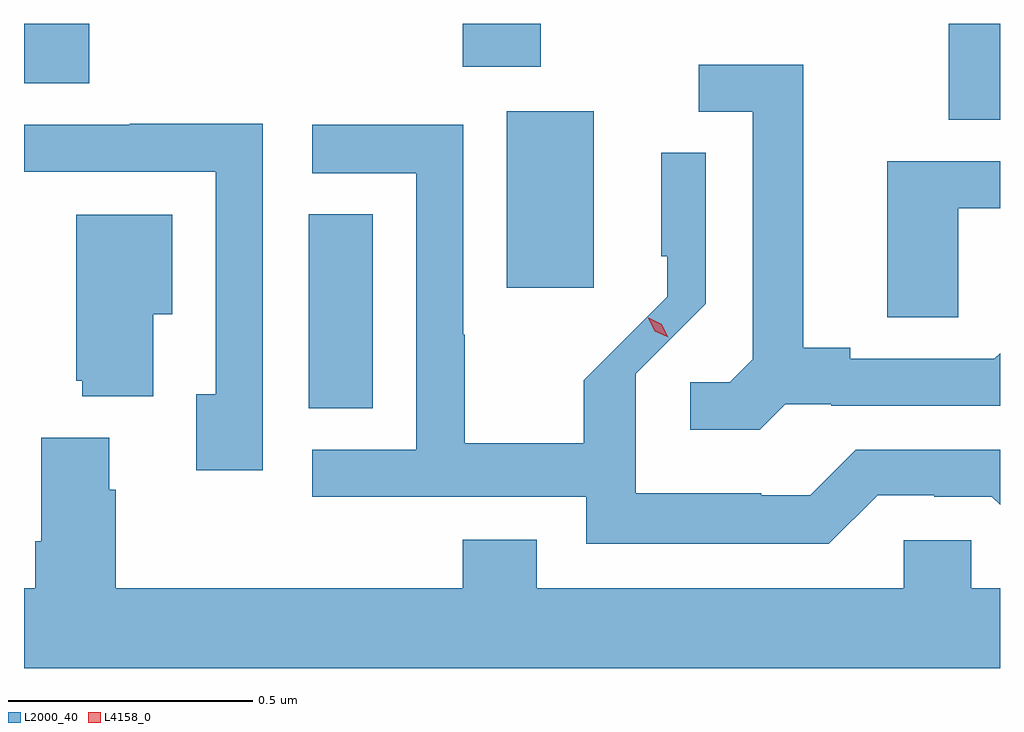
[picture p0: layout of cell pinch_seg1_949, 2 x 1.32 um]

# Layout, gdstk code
import gdstk
lib = gdstk.Library(unit=1e-6, precision=1e-09)
def R(c, l, rs):  # rectangles x0, y0, x1, y1
    for r in rs: c.add(gdstk.rectangle(r[:2], r[2:], *l))
def P(c, l, *ps):  # polygons
    for p in ps: c.add(gdstk.Polygon(p, *l))
L2000_40 = (2000, 40)
L4158_0 = (4158, 0)

pinch_seg1_949 = lib.new_cell('pinch_seg1_949')
R(pinch_seg1_949, L2000_40, [(134.726,536.281,134.857,536.678), (135.131,536.528,135.31,536.89), (136.037,536.872,136.142,537.069), (134.142,536.947,134.276,537.069), (135.041,536.981,135.201,537.069)])
P(pinch_seg1_949, L2000_40, [(135.702,536.289),(135.796,536.289),(135.796,536.286),(136.142,536.286),(136.142,536.394),(136.13,536.382),(135.835,536.382),(135.835,536.405),(135.739,536.405),(135.739,536.985),(135.525,536.985),(135.525,536.889),(135.635,536.889),(135.635,536.381),(135.588,536.334),(135.507,536.334),(135.507,536.237),(135.65,536.237)],
  [(134.631,536.864),(134.359,536.864),(134.359,536.862),(134.142,536.862),(134.142,536.766),(134.535,536.766),(134.535,536.31),(134.495,536.31),(134.495,536.154),(134.631,536.154)],
  [(135.891,536.103),(136.007,536.103),(136.007,536.1),(136.125,536.1),(136.142,536.083),(136.142,536.196),(135.846,536.196),(135.753,536.103),(135.653,536.103),(135.653,536.107),(135.396,536.107),(135.396,536.352),(135.539,536.495),(135.539,536.804),(135.448,536.804),(135.448,536.592),(135.46,536.592),(135.46,536.509),(135.289,536.338),(135.289,536.209),(135.045,536.209),(135.045,536.432),(135.042,536.432),(135.042,536.862),(134.733,536.862),(134.733,536.763),(134.946,536.763),(134.946,536.196),(134.733,536.196),(134.733,536.1),(135.294,536.1),(135.294,536.003),(135.791,536.003)],
  [(136.056,536.691),(136.142,536.691),(136.142,536.787),(135.911,536.787),(135.911,536.467),(136.056,536.467)],
  [(134.407,536.474),(134.446,536.474),(134.446,536.677),(134.249,536.677),(134.249,536.337),(134.261,536.337),(134.261,536.306),(134.407,536.306)],
  [(136.142,535.912),(136.083,535.912),(136.083,536.01),(135.945,536.01),(135.945,535.912),(135.193,535.912),(135.193,536.011),(135.041,536.011),(135.041,535.912),(134.33,535.912),(134.33,536.114),(134.317,536.114),(134.317,536.221),(134.177,536.221),(134.177,536.008),(134.165,536.008),(134.165,535.912),(134.142,535.912),(134.142,535.748),(136.142,535.748)])
P(pinch_seg1_949, L4158_0, [(135.462,536.426),(135.435,536.439),(135.421,536.466),(135.421,536.466),(135.422,536.466),(135.449,536.453),(135.462,536.426),(135.462,536.426)])

lib.write_gds('pinch_seg1_949.gds')
